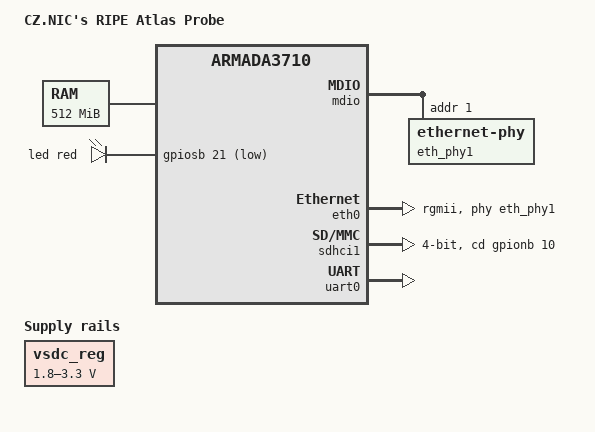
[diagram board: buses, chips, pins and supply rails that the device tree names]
// SPDX-License-Identifier: GPL-2.0+ or X11
/*
 * Device Tree file for CZ.NIC' RIPE Atlas Probe
 * 2021 by Marek Behún <marek.behun@nic.cz>
 */

/dts-v1/;

#include <dt-bindings/gpio/gpio.h>
#include <dt-bindings/leds/common.h>
#include "armada-372x.dtsi"

/ {
	model = "CZ.NIC's RIPE Atlas Probe";
	compatible = "cznic,ripe-atlas", "marvell,armada3720",
		     "marvell,armada3710";

	chosen {
		stdout-path = "serial0:115200n8";
	};

	aliases {
		ethernet0 = &eth0;
	};

	memory {
		device_type = "memory";
		reg = <0x00000000 0x00000000 0x00000000 0x20000000>;
	};

	leds {
		compatible = "gpio-leds";

		led {
			gpios = <&gpiosb 21 GPIO_ACTIVE_LOW>;
			color = <LED_COLOR_ID_RED>;
			function = LED_FUNCTION_ACTIVITY;
		};
	};

	vsdc_reg: vsdc-reg {
		compatible = "regulator-gpio";
		regulator-name = "vsdc";
		regulator-min-microvolt = <1800000>;
		regulator-max-microvolt = <3300000>;
		regulator-boot-on;

		gpios = <&gpiosb 23 GPIO_ACTIVE_HIGH>;
		gpios-states = <0>;
		states = <1800000 0x1
			  3300000 0x0>;
		enable-active-high;
	};

	mdio {
		#address-cells = <1>;
		#size-cells = <0>;

		eth_phy1: ethernet-phy@1 {
			reg = <1>;
		};
	};
};

&comphy {
	status = "disabled";
};

&eth0 {
	status = "okay";
	pinctrl-names = "default";
	pinctrl-0 = <&rgmii_pins>, <&smi_pins>;
	phy-mode = "rgmii";
	phy = <&eth_phy1>;
};

&sdhci1 {
	wp-inverted;
	bus-width = <4>;
	cd-gpios = <&gpionb 10 GPIO_ACTIVE_HIGH>;
	vqmmc-supply = <&vsdc_reg>;
	marvell,pad-type = "sd";
	status = "okay";
};

&uart0 {
	pinctrl-names = "default";
	pinctrl-0 = <&uart1_pins>;
	status = "okay";
};
